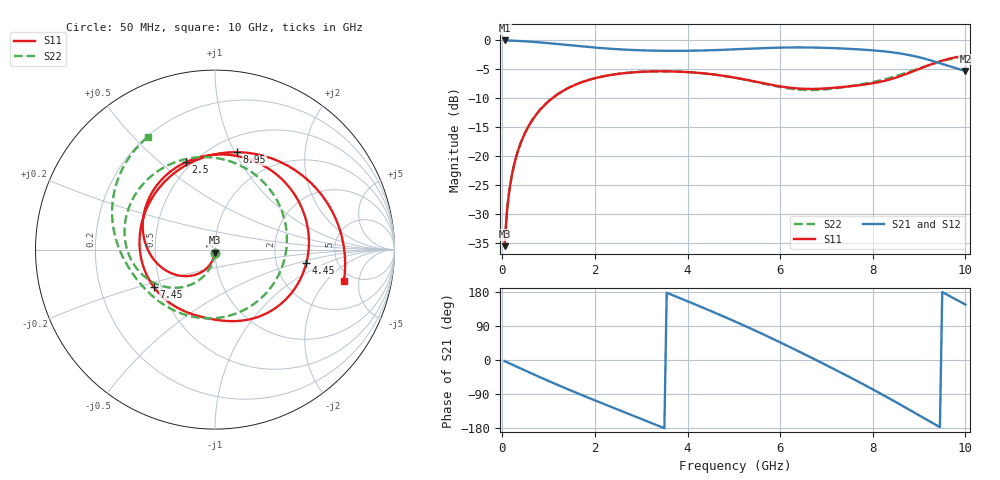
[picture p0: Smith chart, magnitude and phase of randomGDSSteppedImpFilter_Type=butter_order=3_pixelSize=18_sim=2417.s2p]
! freq	dB(S11)	phase(S11)	dB(S12)	phase(S12)
!  dB(S21)	phase(S21)	dB(S22)	phase(S22)
!S-par simulation data
#  GHz  S  DB  R 50
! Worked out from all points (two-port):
!   200 points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, 50 MHz to 10 GHz, reference 50 ohm
!   highest |S21| = -0.01 dB at 50 MHz (marker M1); lowest = -5.3 dB at 10 GHz (marker M2)
!   |S21| within 3 dB of the highest: start of sweep to 9.049 GHz
!   lowest |S11| = -35.5 dB at 50 MHz (marker M3), VSWR 1.03, Z = 49.9 - j1.67 ohm
!   |S11| at or under -10 dB: start of sweep to 1.077 GHz
!   |S22| runs from -35.5 to -2.7 dB; largest |S21 - S12| = 0
!   S11 on the Smith chart (normalised r, x): 50 MHz: 1.00, -0.03; 2.5 GHz: 0.46, +0.62; 4.45 GHz: 2.99, -0.59; 7.45 GHz: 0.46, -0.23; 8.95 GHz: 0.65, +1.02; 10 GHz: 4.12, -3.18
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0.05  -35.53 -93.3  -0.01 -2.8  -0.01 -2.8  -35.52 -92.2
0.1  -29.52 -96.9  -0.01 -5.7  -0.01 -5.7  -29.51 -94.6
0.2  -23.54 -103.9  -0.04 -11.4  -0.04 -11.4  -23.53 -99.4
0.5  -15.84 -124.3  -0.16 -28.2  -0.16 -28.2  -15.82 -113.1
1.1  -9.85 -163.8  -0.55 -60.7  -0.55 -60.7  -9.83 -138.8
1.75  -7.13 154.9  -1.06 -94.1  -1.06 -94.1  -7.11 -164.4
2.5  -5.78 108.3  -1.52 -131.1  -1.52 -131.1  -5.77 168.3
2.95  -5.45 80.6  -1.69 -153.0  -1.69 -153.0  -5.43 152.3
3.4  -5.33 53.2  -1.78 -175.1  -1.78 -175.1  -5.32 136.0
3.95  -5.44 20.4  -1.79 157.6  -1.79 157.6  -5.43 114.7
4.45  -5.77 -8.2  -1.71 132.1  -1.71 132.1  -5.77 92.9
5.05  -6.47 -39.9  -1.53 100.3  -1.53 100.3  -6.49 62.2
5.85  -7.72 -75.8  -1.27 55.4  -1.27 55.4  -7.82 9.7
6.3  -8.24 -93.1  -1.21 28.8  -1.21 28.8  -8.41 -25.8
6.7  -8.37 -109.0  -1.23 4.6  -1.23 4.6  -8.57 -58.7
7.05  -8.25 -125.3  -1.30 -17.0  -1.30 -17.0  -8.40 -86.2
7.45  -7.97 -148.7  -1.44 -42.0  -1.44 -42.0  -7.98 -114.1
7.9  -7.53 177.8  -1.65 -70.8  -1.65 -70.8  -7.35 -140.2
8.35  -6.78 136.7  -1.98 -100.9  -1.98 -100.9  -6.51 -161.8
8.95  -5.08 77.1  -2.81 -142.5  -2.81 -142.5  -4.97 171.6
9.55  -3.37 22.3  -4.18 176.0  -4.18 176.0  -3.46 143.1
10  -2.62 -13.7  -5.26 146.4  -5.26 146.4  -2.72 120.8
